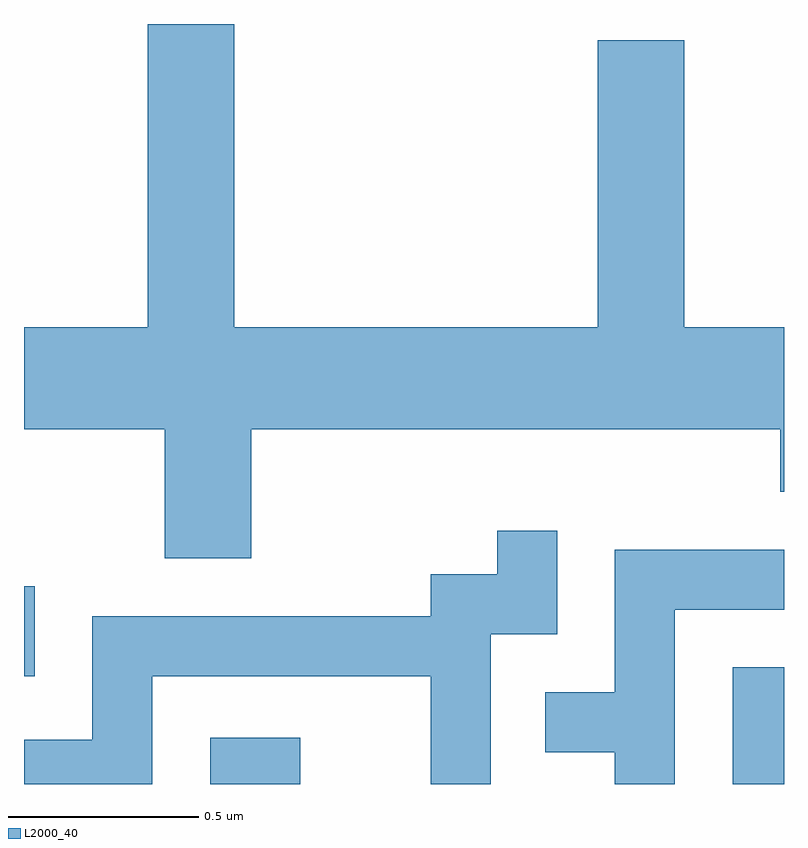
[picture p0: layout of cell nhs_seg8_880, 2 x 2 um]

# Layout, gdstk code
import gdstk
lib = gdstk.Library(unit=1e-6, precision=1e-09)
def R(c, l, rs):  # rectangles x0, y0, x1, y1
    for r in rs: c.add(gdstk.rectangle(r[:2], r[2:], *l))
def P(c, l, *ps):  # polygons
    for p in ps: c.add(gdstk.Polygon(p, *l))
L2000_40 = (2000, 40)

nhs_seg8_880 = lib.new_cell('nhs_seg8_880')
R(nhs_seg8_880, L2000_40, [(192.101,1864.342,192.338,1864.464), (193.476,1864.342,193.611,1864.649), (191.611,1864.626,191.639,1864.863)])
P(nhs_seg8_880, L2000_40, [(192.209,1865.276),(193.601,1865.276),(193.601,1865.111),(193.611,1865.111),(193.611,1865.544),(193.349,1865.544),(193.349,1866.299),(193.121,1866.299),(193.121,1865.544),(192.164,1865.544),(192.164,1866.342),(191.936,1866.342),(191.936,1865.544),(191.611,1865.544),(191.611,1865.276),(191.981,1865.276),(191.981,1864.936),(192.209,1864.936)],
  [(191.949,1864.626),(192.681,1864.626),(192.681,1864.342),(192.839,1864.342),(192.839,1864.736),(193.014,1864.736),(193.014,1865.008),(192.856,1865.008),(192.856,1864.894),(192.681,1864.894),(192.681,1864.784),(191.791,1864.784),(191.791,1864.459),(191.611,1864.459),(191.611,1864.342),(191.949,1864.342)],
  [(193.324,1864.801),(193.611,1864.801),(193.611,1864.959),(193.166,1864.959),(193.166,1864.584),(192.983,1864.584),(192.983,1864.426),(193.166,1864.426),(193.166,1864.342),(193.324,1864.342)])

lib.write_gds('nhs_seg8_880.gds')
